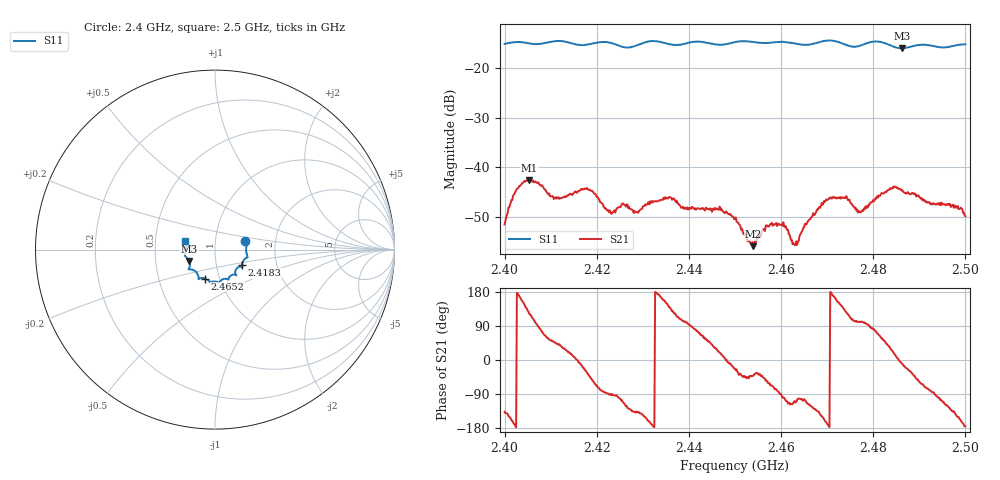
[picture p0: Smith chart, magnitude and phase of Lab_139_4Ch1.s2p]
# Hz S RI R 50
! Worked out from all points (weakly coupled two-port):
!   601 points, 2.4 GHz to 2.5 GHz, reference 50 ohm
!   highest |S21| = -42.57 dB at 2.4053 GHz (marker M1); lowest = -55.8 dB at 2.454 GHz (marker M2)
!   lowest |S11| = -16.1 dB at 2.4862 GHz (marker M3), VSWR 1.37, Z = 37.2 - j4.88 ohm
!   |S11| at or under -10 dB: start of sweep to end of sweep
!   S12 and S22 are empty: the file has one direction only
!   S11 on the Smith chart (normalised r, x): 2.4 GHz: 1.40, +0.13; 2.4183 GHz: 1.33, -0.24; 2.4652 GHz: 0.85, -0.28; 2.5 GHz: 0.71, +0.07
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2.4e9  0.1678 0.0465  -0.00193 -0.00184  0 0  0 0
2.402333e9  0.1778 0.0354  -0.00567 -0.000602  0 0  0 0
2.405333e9  0.1751 0.0157  -0.00404 0.00625  0 0  0 0
2.411e9  0.1814 -0.0385  0.00339 0.00349  0 0  0 0
2.416667e9  0.1548 -0.068  0.00593 -0.00142  0 0  0 0
2.418333e9  0.1496 -0.0861  0.00446 -0.00392  0 0  0 0
2.423167e9  0.1488 -0.0972  -0.00018 -0.00341  0 0  0 0
2.433333e9  0.1172 -0.1415  -0.00457 0.000553  0 0  0 0
2.4465e9  0.0496 -0.1634  0.00351 0.00141  0 0  0 0
2.45e9  0.0256 -0.1797  0.00285 -0.00125  0 0  0 0
2.454e9  0.0141 -0.1811  0.00122 -0.00106  0 0  0 0
2.4585e9  -0.0202 -0.179  0.000717 -0.00255  0 0  0 0
2.461e9  -0.0298 -0.1792  -0.000776 -0.00246  0 0  0 0
2.463e9  -0.0359 -0.1718  -0.000537 -0.00157  0 0  0 0
2.465167e9  -0.0543 -0.1612  -0.000735 -0.0026  0 0  0 0
2.466667e9  -0.0707 -0.1577  -0.00176 -0.00265  0 0  0 0
2.470333e9  -0.0914 -0.1646  -0.00475 -0.000455  0 0  0 0
2.473833e9  -0.0941 -0.1439  -0.00322 0.00371  0 0  0 0
2.477167e9  -0.1229 -0.1131  -0.000617 0.00347  0 0  0 0
2.483333e9  -0.1413 -0.0968  0.00475 0.00359  0 0  0 0
2.486167e9  -0.1434 -0.064  0.00578 -0.000831  0 0  0 0
2.5e9  -0.1658 0.0473  -0.00322 -0.000267  0 0  0 0
